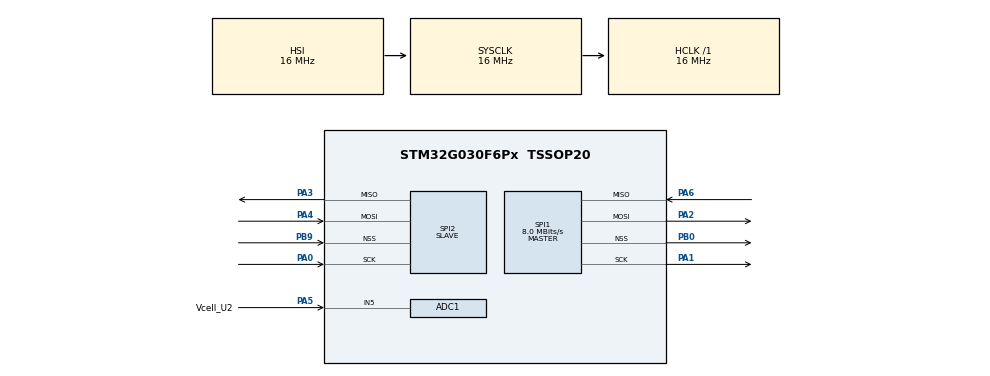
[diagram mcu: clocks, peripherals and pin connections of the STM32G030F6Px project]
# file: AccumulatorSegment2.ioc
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ADC1.Channel-0\#ChannelRegularConversion=ADC_CHANNEL_5
ADC1.NbrOfConversionFlag=1
ADC1.Rank-0\#ChannelRegularConversion=1
ADC1.SamplingTime-0\#ChannelRegularConversion=ADC_SAMPLINGTIME_COMMON_1
ADC1.master=1
Mcu.Family=STM32G0
Mcu.Name=STM32G030F6Px
Mcu.Package=TSSOP20
PA0.Mode=Full_Duplex_Slave
PA0.Signal=SPI2_SCK
PA1.Mode=Full_Duplex_Master
PA1.Signal=SPI1_SCK
PA13.Mode=Serial_Wire
PA13.Signal=SYS_SWDIO
PA14-BOOT0.Mode=Serial_Wire
PA14-BOOT0.Signal=SYS_SWCLK
PA2.Mode=Full_Duplex_Master
PA2.Signal=SPI1_MOSI
PA3.Mode=Full_Duplex_Slave
PA3.Signal=SPI2_MISO
PA4.Mode=Full_Duplex_Slave
PA4.Signal=SPI2_MOSI
PA5.GPIO_Label=Vcell_U2
PA5.GPIO_PuPd=GPIO_NOPULL
PA5.Mode=IN5
PA5.Signal=ADC1_IN5
PA6.Mode=Full_Duplex_Master
PA6.Signal=SPI1_MISO
PB0.Mode=NSS_Signal_Hard_Output
PB0.Signal=SPI1_NSS
PB9.Mode=NSS_Signal_Hard_Input
PB9.Signal=SPI2_NSS
ProjectManager.HeapSize=0x200
ProjectManager.StackSize=0x400
ProjectManager.TargetToolchain=STM32CubeIDE
RCC.AHBFreq_Value=16000000
RCC.CortexFreq_Value=16000000
RCC.EXTERNAL_CLOCK_VALUE=12288000
RCC.HCLKFreq_Value=16000000
RCC.HSE_VALUE=8000000
RCC.HSI_VALUE=16000000
RCC.LSE_VALUE=32768
RCC.SYSCLKFreq_VALUE=16000000
RCC.VCOOutputFreq_Value=128000000
SPI1.CalculateBaudRate=8.0 MBits/s
SPI1.Direction=SPI_DIRECTION_2LINES
SPI1.Mode=SPI_MODE_MASTER
SPI1.VirtualNSS=VM_NSSHARD
SPI1.VirtualType=VM_MASTER
SPI2.Direction=SPI_DIRECTION_2LINES
SPI2.Mode=SPI_MODE_SLAVE
SPI2.VirtualNSS=VM_NSSHARD
SPI2.VirtualType=VM_SLAVE
board=custom

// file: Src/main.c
/* USER CODE BEGIN Header */
/**
  ******************************************************************************
  * @file           : main.c
  * @brief          : Main program body
  ******************************************************************************
  * @attention
  *
  * <h2><center>&copy; Copyright (c) 2022 STMicroelectronics.
  * All rights reserved.</center></h2>
  *
  * This software component is licensed by ST under BSD 3-Clause license,
  * the "License"; You may not use this file except in compliance with the
  * License. You may obtain a copy of the License at:
  *                        opensource.org/licenses/BSD-3-Clause
  *
  ******************************************************************************
  */
/* USER CODE END Header */

#include "main.h"

/* USER CODE BEGIN PD */
#define SPI_TIMEOUT 50

#define ECS_HIGH 	0x80
#define SC0_HIGH 	0x40
#define SC1_HIGH 	0x20
#define SC2_HIGH 	0x10
#define SC3_HIGH 	0x08
#define SMPLB_HIGH 	0x04
#define DIAG_HIGH 	0x02
#define LOPW_HIGH 	0x01
/* USER CODE END PD */

ADC_HandleTypeDef hadc1;

SPI_HandleTypeDef hspi1;
SPI_HandleTypeDef hspi2;

void SystemClock_Config(void);
static void MX_GPIO_Init(void);
static void MX_ADC1_Init(void);
static void MX_SPI1_Init(void);
static void MX_SPI2_Init(void);

int main(void)
{

  /* MCU Configuration--------------------------------------------------------*/

  /* Reset of all peripherals, Initializes the Flash interface and the Systick. */
  HAL_Init();

  /* Configure the system clock */
  SystemClock_Config();

  /* Initialize all configured peripherals */
  MX_GPIO_Init();
  MX_ADC1_Init();
  MX_SPI1_Init();
  MX_SPI2_Init();
  /* USER CODE BEGIN 2 */
    unsigned char u1_buffer_in[] = {0x00, 0x00, 0x80};
	unsigned char * balance_low = &u1_buffer_in[0];
	unsigned char * balance_high = &u1_buffer_in[1];
	unsigned char * config = &u1_buffer_in[2];

	uint16_t cell_voltages[4] = {0};
  /* USER CODE END 2 */

  /* Infinite loop */
  while (1)
  {

    /* USER CODE BEGIN 3 */
	*balance_low = 0;
	*balance_high = 0;
	//Measure voltage of every set of cells
	for (int i = 0; i < 4; i++) {
	  *config = 0x80;
	  //Set SC0 and SC1, depending on the value of i
	  //Since we're only measuring 4 cells, SC2 and SC3 are always 0
	  int cell = i;
	  if (i / 2 != 0) {
		  cell -= 2;
		  *config = *config || SC1_HIGH;
	  }
	  if (cell == 1) {
		  *config = *config || SC0_HIGH;
	  }
	  //tell MAX14920 to measure voltage of cell i
	  HAL_SPI_Transmit(&hspi1, u1_buffer_in, 3, 200);

	  //Time delay to allow voltage measurement to settle.
	  //According to MAX14920 datasheet, we should have a delay of over 5us.
	  //I was gonna do this with a bunch of NOP instructions, but it turns out
	  //	that reading from ADC takes a few microseconds anyways.
//		for (int j = 0; j < 200; j++) {
//			asm("NOP");
//		}

	  //read voltage of cell i from ADC
	  HAL_ADC_Start(&hadc1);
	  HAL_ADC_PollForConversion(&adc1, 2);
	  cell_voltages[i] = HAL_ADC_GetValue(&hadc1);
	}

	//send cell voltages to BMS controller
	HAL_SPI_Transmit(&hspi2, cell_voltages, 4 * sizeof(uint16_t), SPI_TIMEOUT);

  }
  /* USER CODE END 3 */
}

void SystemClock_Config(void)
{
  RCC_OscInitTypeDef RCC_OscInitStruct = {0};
  RCC_ClkInitTypeDef RCC_ClkInitStruct = {0};
  RCC_PeriphCLKInitTypeDef PeriphClkInit = {0};

  /** Configure the main internal regulator output voltage
  */
  HAL_PWREx_ControlVoltageScaling(PWR_REGULATOR_VOLTAGE_SCALE1);
  /** Initializes the CPU, AHB and APB busses clocks
  */
  RCC_OscInitStruct.OscillatorType = RCC_OSCILLATORTYPE_HSI;
  RCC_OscInitStruct.HSIState = RCC_HSI_ON;
  RCC_OscInitStruct.HSIDiv = RCC_HSI_DIV1;
  RCC_OscInitStruct.HSICalibrationValue = RCC_HSICALIBRATION_DEFAULT;
  RCC_OscInitStruct.PLL.PLLState = RCC_PLL_NONE;
  if (HAL_RCC_OscConfig(&RCC_OscInitStruct) != HAL_OK)
  {
    Error_Handler();
  }
  /** Initializes the CPU, AHB and APB busses clocks
  */
  RCC_ClkInitStruct.ClockType = RCC_CLOCKTYPE_HCLK|RCC_CLOCKTYPE_SYSCLK
                              |RCC_CLOCKTYPE_PCLK1;
  RCC_ClkInitStruct.SYSCLKSource = RCC_SYSCLKSOURCE_HSI;
  RCC_ClkInitStruct.AHBCLKDivider = RCC_SYSCLK_DIV1;
  RCC_ClkInitStruct.APB1CLKDivider = RCC_HCLK_DIV1;

  if (HAL_RCC_ClockConfig(&RCC_ClkInitStruct, FLASH_LATENCY_0) != HAL_OK)
  {
    Error_Handler();
  }
  /** Initializes the peripherals clocks
  */
  PeriphClkInit.PeriphClockSelection = RCC_PERIPHCLK_ADC;
  PeriphClkInit.AdcClockSelection = RCC_ADCCLKSOURCE_SYSCLK;
  if (HAL_RCCEx_PeriphCLKConfig(&PeriphClkInit) != HAL_OK)
  {
    Error_Handler();
  }
}

static void MX_ADC1_Init(void)
{

  ADC_ChannelConfTypeDef sConfig = {0};

  /** Configure the global features of the ADC (Clock, Resolution, Data Alignment and number of conversion)
  */
  hadc1.Instance = ADC1;
  hadc1.Init.ClockPrescaler = ADC_CLOCK_SYNC_PCLK_DIV2;
  hadc1.Init.Resolution = ADC_RESOLUTION_12B;
  hadc1.Init.DataAlign = ADC_DATAALIGN_RIGHT;
  hadc1.Init.ScanConvMode = ADC_SCAN_DISABLE;
  hadc1.Init.EOCSelection = ADC_EOC_SINGLE_CONV;
  hadc1.Init.LowPowerAutoWait = DISABLE;
  hadc1.Init.LowPowerAutoPowerOff = DISABLE;
  hadc1.Init.ContinuousConvMode = DISABLE;
  hadc1.Init.NbrOfConversion = 1;
  hadc1.Init.DiscontinuousConvMode = DISABLE;
  hadc1.Init.ExternalTrigConv = ADC_SOFTWARE_START;
  hadc1.Init.ExternalTrigConvEdge = ADC_EXTERNALTRIGCONVEDGE_NONE;
  hadc1.Init.DMAContinuousRequests = DISABLE;
  hadc1.Init.Overrun = ADC_OVR_DATA_PRESERVED;
  hadc1.Init.SamplingTimeCommon1 = ADC_SAMPLETIME_1CYCLE_5;
  hadc1.Init.SamplingTimeCommon2 = ADC_SAMPLETIME_1CYCLE_5;
  hadc1.Init.OversamplingMode = DISABLE;
  hadc1.Init.TriggerFrequencyMode = ADC_TRIGGER_FREQ_HIGH;
  if (HAL_ADC_Init(&hadc1) != HAL_OK)
  {
    Error_Handler();
  }
  /** Configure Regular Channel
  */
  sConfig.Channel = ADC_CHANNEL_5;
  sConfig.Rank = ADC_REGULAR_RANK_1;
  sConfig.SamplingTime = ADC_SAMPLINGTIME_COMMON_1;
  if (HAL_ADC_ConfigChannel(&hadc1, &sConfig) != HAL_OK)
  {
    Error_Handler();
  }

}

static void MX_SPI1_Init(void)
{

  /* SPI1 parameter configuration*/
  hspi1.Instance = SPI1;
  hspi1.Init.Mode = SPI_MODE_MASTER;
  hspi1.Init.Direction = SPI_DIRECTION_2LINES;
  hspi1.Init.DataSize = SPI_DATASIZE_8BIT;
  hspi1.Init.CLKPolarity = SPI_POLARITY_LOW;
  hspi1.Init.CLKPhase = SPI_PHASE_1EDGE;
  hspi1.Init.NSS = SPI_NSS_HARD_OUTPUT;
  hspi1.Init.BaudRatePrescaler = SPI_BAUDRATEPRESCALER_2;
  hspi1.Init.FirstBit = SPI_FIRSTBIT_MSB;
  hspi1.Init.TIMode = SPI_TIMODE_DISABLE;
  hspi1.Init.CRCCalculation = SPI_CRCCALCULATION_DISABLE;
  hspi1.Init.CRCPolynomial = 7;
  hspi1.Init.CRCLength = SPI_CRC_LENGTH_DATASIZE;
  hspi1.Init.NSSPMode = SPI_NSS_PULSE_ENABLE;
  if (HAL_SPI_Init(&hspi1) != HAL_OK)
  {
    Error_Handler();
  }

}

static void MX_SPI2_Init(void)
{

  /* SPI2 parameter configuration*/
  hspi2.Instance = SPI2;
  hspi2.Init.Mode = SPI_MODE_SLAVE;
  hspi2.Init.Direction = SPI_DIRECTION_2LINES;
  hspi2.Init.DataSize = SPI_DATASIZE_8BIT;
  hspi2.Init.CLKPolarity = SPI_POLARITY_LOW;
  hspi2.Init.CLKPhase = SPI_PHASE_1EDGE;
  hspi2.Init.NSS = SPI_NSS_HARD_INPUT;
  hspi2.Init.FirstBit = SPI_FIRSTBIT_MSB;
  hspi2.Init.TIMode = SPI_TIMODE_DISABLE;
  hspi2.Init.CRCCalculation = SPI_CRCCALCULATION_DISABLE;
  hspi2.Init.CRCPolynomial = 7;
  hspi2.Init.CRCLength = SPI_CRC_LENGTH_DATASIZE;
  hspi2.Init.NSSPMode = SPI_NSS_PULSE_DISABLE;
  if (HAL_SPI_Init(&hspi2) != HAL_OK)
  {
    Error_Handler();
  }

}

static void MX_GPIO_Init(void)
{

  /* GPIO Ports Clock Enable */
  __HAL_RCC_GPIOB_CLK_ENABLE();
  __HAL_RCC_GPIOA_CLK_ENABLE();

}

void Error_Handler(void)
{
}

/************************ (C) COPYRIGHT STMicroelectronics *****END OF FILE****/
